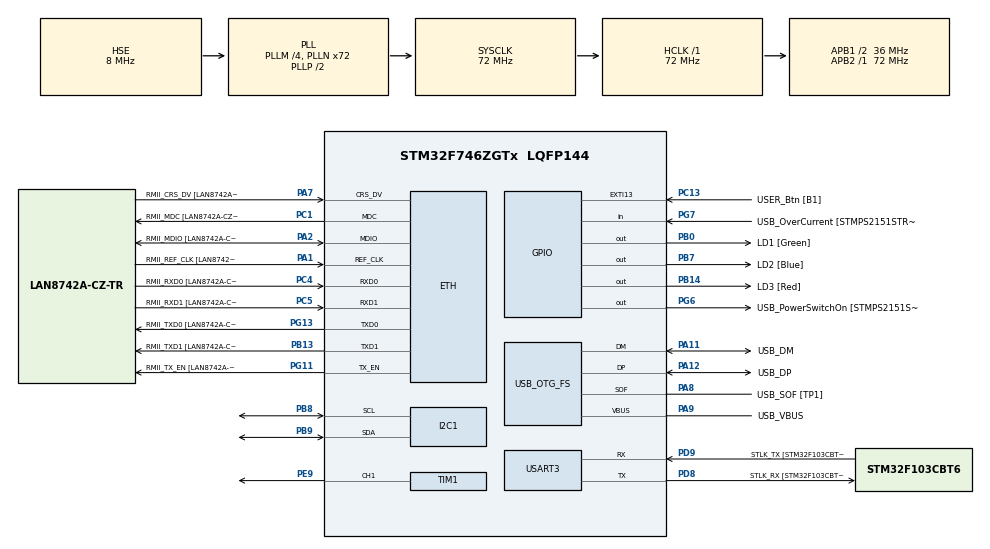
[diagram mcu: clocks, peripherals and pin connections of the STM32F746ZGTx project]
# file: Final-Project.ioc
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ETH.MediaInterface=HAL_ETH_RMII_MODE
ETH.PHY_Name=LAN8742A_PHY_ADDRESS
ETH.PHY_Value=0
ETH.PhyAddress=0
I2C1.Timing=0x00808CD2
Mcu.Family=STM32F7
Mcu.Name=STM32F746ZGTx
Mcu.Package=LQFP144
NVIC.PriorityGroup=NVIC_PRIORITYGROUP_4
PA1.GPIO_Label=RMII_REF_CLK [LAN8742A-CZ-TR_REFCLK0]
PA1.Mode=RMII
PA1.Signal=ETH_REF_CLK
PA10.GPIO_Label=USB_ID
PA10.Signal=USB_OTG_FS_ID
PA11.GPIO_Label=USB_DM
PA11.Mode=Device_Only
PA11.Signal=USB_OTG_FS_DM
PA12.GPIO_Label=USB_DP
PA12.Mode=Device_Only
PA12.Signal=USB_OTG_FS_DP
PA13.GPIO_Label=TMS
PA13.Mode=Serial_Wire
PA13.Signal=SYS_JTMS-SWDIO
PA14.GPIO_Label=TCK
PA14.Mode=Serial_Wire
PA14.Signal=SYS_JTCK-SWCLK
PA2.GPIO_Label=RMII_MDIO [LAN8742A-CZ-TR_MDIO]
PA2.Mode=RMII
PA2.Signal=ETH_MDIO
PA7.GPIO_Label=RMII_CRS_DV [LAN8742A-CZ-TR_CRS_DV]
PA7.Mode=RMII
PA7.Signal=ETH_CRS_DV
PA8.GPIO_Label=USB_SOF [TP1]
PA8.Mode=Activate_SOF_FS
PA8.Signal=USB_OTG_FS_SOF
PA9.GPIO_Label=USB_VBUS
PA9.Mode=Activate_VBUS
PA9.Signal=USB_OTG_FS_VBUS
PB0.GPIO_Label=LD1 [Green]
PB0.Signal=GPIO_Output
PB13.GPIO_Label=RMII_TXD1 [LAN8742A-CZ-TR_TXD1]
PB13.Mode=RMII
PB13.Signal=ETH_TXD1
PB14.GPIO_Label=LD3 [Red]
PB14.Signal=GPIO_Output
PB3.GPIO_Label=SW0
PB3.Signal=SYS_JTDO-SWO
PB7.GPIO_Label=LD2 [Blue]
PB7.Signal=GPIO_Output
PB8.Mode=I2C
PB8.Signal=I2C1_SCL
PB9.Mode=I2C
PB9.Signal=I2C1_SDA
PC1.GPIO_Label=RMII_MDC [LAN8742A-CZ-TR_MDC]
PC1.Mode=RMII
PC1.Signal=ETH_MDC
PC13.GPIO_Label=USER_Btn [B1]
PC13.Signal=GPXTI13
PC14/OSC32_IN.Mode=LSE-External-Oscillator
PC14/OSC32_IN.Signal=RCC_OSC32_IN
PC15/OSC32_OUT.Mode=LSE-External-Oscillator
PC15/OSC32_OUT.Signal=RCC_OSC32_OUT
PC4.GPIO_Label=RMII_RXD0 [LAN8742A-CZ-TR_RXD0]
PC4.Mode=RMII
PC4.Signal=ETH_RXD0
PC5.GPIO_Label=RMII_RXD1 [LAN8742A-CZ-TR_RXD1]
PC5.Mode=RMII
PC5.Signal=ETH_RXD1
PD8.GPIO_Label=STLK_RX [STM32F103CBT6_PA3]
PD8.GPIO_PuPd=GPIO_PULLUP
PD8.Mode=Asynchronous
PD8.Signal=USART3_TX
PD9.GPIO_Label=STLK_TX [STM32F103CBT6_PA2]
PD9.GPIO_PuPd=GPIO_PULLUP
PD9.Mode=Asynchronous
PD9.Signal=USART3_RX
PE9.Signal=S_TIM1_CH1
PG11.GPIO_Label=RMII_TX_EN [LAN8742A-CZ-TR_TXEN]
PG11.Mode=RMII
PG11.Signal=ETH_TX_EN
PG13.GPIO_Label=RMII_TXD0 [LAN8742A-CZ-TR_TXD0]
PG13.Mode=RMII
PG13.Signal=ETH_TXD0
PG6.GPIO_Label=USB_PowerSwitchOn [STMPS2151STR_EN]
PG6.Signal=GPIO_Output
PG7.GPIO_Label=USB_OverCurrent [STMPS2151STR_FAULT]
PG7.Signal=GPIO_Input
PH0/OSC_IN.GPIO_Label=MCO [STM32F103CBT6_PA8]
PH0/OSC_IN.Mode=HSE-External-Clock-Source
PH0/OSC_IN.Signal=RCC_OSC_IN
PH1/OSC_OUT.Mode=HSE-External-Clock-Source
PH1/OSC_OUT.Signal=RCC_OSC_OUT
ProjectManager.HeapSize=0x200
ProjectManager.StackSize=0x400
ProjectManager.TargetToolchain=STM32CubeIDE
RCC.48MHZClocksFreq_Value=24000000
RCC.AHBFreq_Value=72000000
RCC.APB1CLKDivider=RCC_HCLK_DIV2
RCC.APB1Freq_Value=36000000
RCC.APB1TimFreq_Value=72000000
RCC.APB2Freq_Value=72000000
RCC.APB2TimFreq_Value=72000000
RCC.CortexFreq_Value=72000000
RCC.HCLKFreq_Value=72000000
RCC.HSE_VALUE=8000000
RCC.HSI_VALUE=16000000
RCC.PLLM=4
RCC.PLLMUL=RCC_PLL_MUL9
RCC.PLLN=72
RCC.PLLQ=3
RCC.PRESCALERUSB=RCC_USBCLKSOURCE_PLL_DIV1_5
RCC.SYSCLKFreq_VALUE=72000000
RCC.SYSCLKSource=RCC_SYSCLKSOURCE_PLLCLK
RCC.SYSCLKSourceVirtual=RCC_SYSCLKSOURCE_PLLCLK
RCC.USBFreq_Value=48000000
RCC.VCOOutputFreq_Value=144000000
SH.S_TIM1_CH1.0=TIM1_CH1,PWM Generation1 CH1
TIM1.Channel-PWM\ Generation1\ CH1=TIM_CHANNEL_1
USART3.VirtualMode-Asynchronous=VM_ASYNC
USB_OTG_FS.VirtualMode=Device_Only
VP_TIM1_VS_ClockSourceINT.Mode=Internal
board=NUCLEO-F746ZG

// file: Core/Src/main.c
/* USER CODE BEGIN Header */
/**
  ******************************************************************************
  * @file           : main.c
  * @brief          : Main program body
  ******************************************************************************
  */
/* USER CODE END Header */

#include "main.h"
#include <string.h>
#include <stdio.h>

#include "pi_controller.h"
#include "bh1750.h"
#include "pwm_led.h"

/* USER CODE BEGIN PD */

/* ===== Project settings ===== */
#define TS_MS               200U
#define TS_SEC              0.2f

#define CONTROL_RANGE_LUX   500.0f
#define ERR_5_PERCENT_LUX   (0.05f * CONTROL_RANGE_LUX)   /* 25 lux if range 0..500 */

#define STEP_DURATION_MS    15000U   /* log 15s then stop */
#define STEP_FROM_LUX       200.0f
#define STEP_TO_LUX         300.0f

/* USER CODE END PD */

#if defined ( __ICCARM__ )
#pragma location=0x2004c000
ETH_DMADescTypeDef  DMARxDscrTab[ETH_RX_DESC_CNT];
#pragma location=0x2004c0a0
ETH_DMADescTypeDef  DMATxDscrTab[ETH_TX_DESC_CNT];

#elif defined ( __CC_ARM )
__attribute__((at(0x2004c000))) ETH_DMADescTypeDef  DMARxDscrTab[ETH_RX_DESC_CNT];
__attribute__((at(0x2004c0a0))) ETH_DMADescTypeDef  DMATxDscrTab[ETH_TX_DESC_CNT];

#elif defined ( __GNUC__ )
ETH_DMADescTypeDef DMARxDscrTab[ETH_RX_DESC_CNT] __attribute__((section(".RxDecripSection")));
ETH_DMADescTypeDef DMATxDscrTab[ETH_TX_DESC_CNT] __attribute__((section(".TxDecripSection")));
#endif

ETH_TxPacketConfig TxConfig;

ETH_HandleTypeDef heth;
I2C_HandleTypeDef hi2c1;
TIM_HandleTypeDef htim1;
UART_HandleTypeDef huart3;
PCD_HandleTypeDef hpcd_USB_OTG_FS;

/* USER CODE BEGIN PV */
PI_t pi;

float target_lux = 200.0f;
float lux        = 0.0f;

float u_last     = 0.30f;   /* start at 30% */
uint32_t last_ms = 0;

char uart_buf[160];
uint8_t rx_char = 0;

uint8_t do_log = 0;         /* 0=status lines, 1=CSV */
uint8_t step_active = 0;
uint32_t t0_ms = 0;
/* USER CODE END PV */

void SystemClock_Config(void);
static void MX_GPIO_Init(void);
static void MX_ETH_Init(void);
static void MX_I2C1_Init(void);
static void MX_USART3_UART_Init(void);
static void MX_USB_OTG_FS_PCD_Init(void);
static void MX_TIM1_Init(void);

/* USER CODE BEGIN PFP */
static void UART_PrintHelp(void);
static void UART_PrintCSVHeader(void);
static void ClampTarget(void);
/* USER CODE END PFP */

/* USER CODE BEGIN 0 */

static void UART_PrintHelp(void)
{
  int n = sprintf(uart_buf,
      "READY\r\n"
      "Commands:\r\n"
      "+ / - : target +/-10 lux\r\n"
      "l     : toggle CSV logging\r\n"
      "s     : step test (200->300) + CSV for 15s\r\n"
      "r     : reset PI integrator\r\n");
  HAL_UART_Transmit(&huart3, (uint8_t*)uart_buf, n, 50);
}

static void UART_PrintCSVHeader(void)
{
  int n = sprintf(uart_buf, "t_ms,lux,target,duty\r\n");
  HAL_UART_Transmit(&huart3, (uint8_t*)uart_buf, n, 50);
}

static void ClampTarget(void)
{
  if (target_lux < 0.0f)    target_lux = 0.0f;
  if (target_lux > 1000.0f) target_lux = 1000.0f;
}

/* USER CODE END 0 */

int main(void)
{
  /* MCU Configuration--------------------------------------------------------*/
  HAL_Init();
  SystemClock_Config();

  /* Initialize all configured peripherals */
  MX_GPIO_Init();
  MX_ETH_Init();
  MX_I2C1_Init();
  MX_USART3_UART_Init();
  MX_USB_OTG_FS_PCD_Init();
  MX_TIM1_Init();

  /* USER CODE BEGIN 2 */
  PWM_LED_Start(&htim1, TIM_CHANNEL_1);
  PWM_LED_SetDuty(&htim1, TIM_CHANNEL_1, u_last);

  BH1750_Init(&hi2c1);

  /* Safe initial PI values (tune later) */
  PI_Init(&pi,
          0.30f,    /* Kp */
          0.05f,    /* Ki */
          TS_SEC,   /* Ts */
          0.0f,     /* out_min */
          1.0f);    /* out_max */

  last_ms = HAL_GetTick();

  UART_PrintHelp();
  /* USER CODE END 2 */

  /* Infinite loop */
  /* USER CODE BEGIN WHILE */
  while (1)
  {
    /* ===== UART non-blocking receive (timeout 0) ===== */
    if (HAL_UART_Receive(&huart3, &rx_char, 1, 0) == HAL_OK)
    {
      if (rx_char == '+') target_lux += 10.0f;
      if (rx_char == '-') target_lux -= 10.0f;

      if (rx_char == 'l')
      {
        do_log ^= 1;
        if (do_log)
        {
          t0_ms = HAL_GetTick();
          UART_PrintCSVHeader();
        }
        else
        {
          int n = sprintf(uart_buf, "LOG OFF\r\n");
          HAL_UART_Transmit(&huart3, (uint8_t*)uart_buf, n, 50);
        }
      }

      if (rx_char == 'r')
      {
        /* requires PI_Reset() to exist */
        PI_Reset(&pi, 0.0f);
        int n = sprintf(uart_buf, "PI RESET\r\n");
        HAL_UART_Transmit(&huart3, (uint8_t*)uart_buf, n, 50);
      }

      if (rx_char == 's')
      {
        /* Step test: 200 -> 300, CSV for 15s */
        target_lux = STEP_FROM_LUX;
        HAL_Delay(800);

        /* keep output continuity */
        PI_Reset(&pi, u_last);

        do_log = 1;
        step_active = 1;
        t0_ms = HAL_GetTick();

        int n = sprintf(uart_buf, "STEP START\r\n");
        HAL_UART_Transmit(&huart3, (uint8_t*)uart_buf, n, 50);
        UART_PrintCSVHeader();

        target_lux = STEP_TO_LUX;
      }

      ClampTarget();
    }

    /* ===== Control loop @ 200 ms (constant Ts) ===== */
    if ((HAL_GetTick() - last_ms) >= TS_MS)
    {
      last_ms += TS_MS;

      HAL_StatusTypeDef ok = BH1750_ReadLux(&hi2c1, &lux);

      if (ok == HAL_OK)
      {
        if (lux < 0.0f)      lux = 0.0f;
        if (lux > 100000.0f) lux = 100000.0f;

        float u = PI_Update(&pi, target_lux, lux);

        /* extra safety clamp */
        if (u > 1.0f) u = 1.0f;
        if (u < 0.0f) u = 0.0f;

        u_last = u;
        PWM_LED_SetDuty(&htim1, TIM_CHANNEL_1, u_last);
      }
      else
      {
        /* keep last output (avoid flicker on I2C glitches) */
        PWM_LED_SetDuty(&htim1, TIM_CHANNEL_1, u_last);
      }

      /* ===== Req3 monitor (steady-state error within 5% of range) ===== */
      float err = target_lux - lux;
      if (err < 0.0f) err = -err;
      int pass = (err <= ERR_5_PERCENT_LUX);

      /* ===== Print status / CSV (integers only) ===== */
      int t_ms   = (int)(HAL_GetTick() - t0_ms);
      int lux_i  = (int)(lux);
      int trg_i  = (int)(target_lux);
      int duty_i = (int)(u_last * 100.0f);

      if (do_log)
      {
        int n = sprintf(uart_buf, "%d,%d,%d,%d\r\n", t_ms, lux_i, trg_i, duty_i);
        HAL_UART_Transmit(&huart3, (uint8_t*)uart_buf, n, 50);

        if (step_active && ((HAL_GetTick() - t0_ms) > STEP_DURATION_MS))
        {
          step_active = 0;
          do_log = 0;
          int n2 = sprintf(uart_buf, "STEP DONE\r\n");
          HAL_UART_Transmit(&huart3, (uint8_t*)uart_buf, n2, 50);
        }
      }
      else
      {
        int n = sprintf(uart_buf,
                        "lux=%d target=%d duty=%d%% err=%d pass=%d\r\n",
                        lux_i, trg_i, duty_i, (int)err, pass);
        HAL_UART_Transmit(&huart3, (uint8_t*)uart_buf, n, 50);
      }
    }
  }
  /* USER CODE END WHILE */
}

/* =================== CubeMX generated functions (keep as is) =================== */

void SystemClock_Config(void)
{
  RCC_OscInitTypeDef RCC_OscInitStruct = {0};
  RCC_ClkInitTypeDef RCC_ClkInitStruct = {0};

  HAL_PWR_EnableBkUpAccess();
  __HAL_RCC_PWR_CLK_ENABLE();
  __HAL_PWR_VOLTAGESCALING_CONFIG(PWR_REGULATOR_VOLTAGE_SCALE3);

  RCC_OscInitStruct.OscillatorType = RCC_OSCILLATORTYPE_HSE;
  RCC_OscInitStruct.HSEState = RCC_HSE_BYPASS;
  RCC_OscInitStruct.PLL.PLLState = RCC_PLL_ON;
  RCC_OscInitStruct.PLL.PLLSource = RCC_PLLSOURCE_HSE;
  RCC_OscInitStruct.PLL.PLLM = 4;
  RCC_OscInitStruct.PLL.PLLN = 72;
  RCC_OscInitStruct.PLL.PLLP = RCC_PLLP_DIV2;
  RCC_OscInitStruct.PLL.PLLQ = 3;
  if (HAL_RCC_OscConfig(&RCC_OscInitStruct) != HAL_OK)
  {
    Error_Handler();
  }

  RCC_ClkInitStruct.ClockType = RCC_CLOCKTYPE_HCLK|RCC_CLOCKTYPE_SYSCLK
                              |RCC_CLOCKTYPE_PCLK1|RCC_CLOCKTYPE_PCLK2;
  RCC_ClkInitStruct.SYSCLKSource = RCC_SYSCLKSOURCE_PLLCLK;
  RCC_ClkInitStruct.AHBCLKDivider = RCC_SYSCLK_DIV1;
  RCC_ClkInitStruct.APB1CLKDivider = RCC_HCLK_DIV2;
  RCC_ClkInitStruct.APB2CLKDivider = RCC_HCLK_DIV1;

  if (HAL_RCC_ClockConfig(&RCC_ClkInitStruct, FLASH_LATENCY_2) != HAL_OK)
  {
    Error_Handler();
  }
}

static void MX_ETH_Init(void)
{
  static uint8_t MACAddr[6];

  heth.Instance = ETH;
  MACAddr[0] = 0x00;
  MACAddr[1] = 0x80;
  MACAddr[2] = 0xE1;
  MACAddr[3] = 0x00;
  MACAddr[4] = 0x00;
  MACAddr[5] = 0x00;
  heth.Init.MACAddr = &MACAddr[0];
  heth.Init.MediaInterface = HAL_ETH_RMII_MODE;
  heth.Init.TxDesc = DMATxDscrTab;
  heth.Init.RxDesc = DMARxDscrTab;
  heth.Init.RxBuffLen = 1524;

  if (HAL_ETH_Init(&heth) != HAL_OK)
  {
    Error_Handler();
  }

  memset(&TxConfig, 0 , sizeof(ETH_TxPacketConfig));
  TxConfig.Attributes = ETH_TX_PACKETS_FEATURES_CSUM | ETH_TX_PACKETS_FEATURES_CRCPAD;
  TxConfig.ChecksumCtrl = ETH_CHECKSUM_IPHDR_PAYLOAD_INSERT_PHDR_CALC;
  TxConfig.CRCPadCtrl = ETH_CRC_PAD_INSERT;
}

static void MX_I2C1_Init(void)
{
  hi2c1.Instance = I2C1;
  hi2c1.Init.Timing = 0x00808CD2;
  hi2c1.Init.OwnAddress1 = 0;
  hi2c1.Init.AddressingMode = I2C_ADDRESSINGMODE_7BIT;
  hi2c1.Init.DualAddressMode = I2C_DUALADDRESS_DISABLE;
  hi2c1.Init.OwnAddress2 = 0;
  hi2c1.Init.OwnAddress2Masks = I2C_OA2_NOMASK;
  hi2c1.Init.GeneralCallMode = I2C_GENERALCALL_DISABLE;
  hi2c1.Init.NoStretchMode = I2C_NOSTRETCH_DISABLE;
  if (HAL_I2C_Init(&hi2c1) != HAL_OK)
  {
    Error_Handler();
  }

  if (HAL_I2CEx_ConfigAnalogFilter(&hi2c1, I2C_ANALOGFILTER_ENABLE) != HAL_OK)
  {
    Error_Handler();
  }

  if (HAL_I2CEx_ConfigDigitalFilter(&hi2c1, 0) != HAL_OK)
  {
    Error_Handler();
  }
}

static void MX_TIM1_Init(void)
{
  TIM_ClockConfigTypeDef sClockSourceConfig = {0};
  TIM_MasterConfigTypeDef sMasterConfig = {0};
  TIM_OC_InitTypeDef sConfigOC = {0};
  TIM_BreakDeadTimeConfigTypeDef sBreakDeadTimeConfig = {0};

  htim1.Instance = TIM1;
  htim1.Init.Prescaler = 0;
  htim1.Init.CounterMode = TIM_COUNTERMODE_UP;
  htim1.Init.Period = 65535;
  htim1.Init.ClockDivision = TIM_CLOCKDIVISION_DIV1;
  htim1.Init.RepetitionCounter = 0;
  htim1.Init.AutoReloadPreload = TIM_AUTORELOAD_PRELOAD_DISABLE;
  if (HAL_TIM_Base_Init(&htim1) != HAL_OK)
  {
    Error_Handler();
  }

  sClockSourceConfig.ClockSource = TIM_CLOCKSOURCE_INTERNAL;
  if (HAL_TIM_ConfigClockSource(&htim1, &sClockSourceConfig) != HAL_OK)
  {
    Error_Handler();
  }

  if (HAL_TIM_PWM_Init(&htim1) != HAL_OK)
  {
    Error_Handler();
  }

  sMasterConfig.MasterOutputTrigger = TIM_TRGO_RESET;
  sMasterConfig.MasterOutputTrigger2 = TIM_TRGO2_RESET;
  sMasterConfig.MasterSlaveMode = TIM_MASTERSLAVEMODE_DISABLE;
  if (HAL_TIMEx_MasterConfigSynchronization(&htim1, &sMasterConfig) != HAL_OK)
  {
    Error_Handler();
  }

  sConfigOC.OCMode = TIM_OCMODE_PWM1;
  sConfigOC.Pulse = 0;
  sConfigOC.OCPolarity = TIM_OCPOLARITY_HIGH;
  sConfigOC.OCNPolarity = TIM_OCNPOLARITY_HIGH;
  sConfigOC.OCFastMode = TIM_OCFAST_DISABLE;
  sConfigOC.OCIdleState = TIM_OCIDLESTATE_RESET;
  sConfigOC.OCNIdleState = TIM_OCNIDLESTATE_RESET;
  if (HAL_TIM_PWM_ConfigChannel(&htim1, &sConfigOC, TIM_CHANNEL_1) != HAL_OK)
  {
    Error_Handler();
  }

  sBreakDeadTimeConfig.OffStateRunMode = TIM_OSSR_DISABLE;
  sBreakDeadTimeConfig.OffStateIDLEMode = TIM_OSSI_DISABLE;
  sBreakDeadTimeConfig.LockLevel = TIM_LOCKLEVEL_OFF;
  sBreakDeadTimeConfig.DeadTime = 0;
  sBreakDeadTimeConfig.BreakState = TIM_BREAK_DISABLE;
  sBreakDeadTimeConfig.BreakPolarity = TIM_BREAKPOLARITY_HIGH;
  sBreakDeadTimeConfig.BreakFilter = 0;
  sBreakDeadTimeConfig.Break2State = TIM_BREAK2_DISABLE;
  sBreakDeadTimeConfig.Break2Polarity = TIM_BREAK2POLARITY_HIGH;
  sBreakDeadTimeConfig.Break2Filter = 0;
  sBreakDeadTimeConfig.AutomaticOutput = TIM_AUTOMATICOUTPUT_DISABLE;
  if (HAL_TIMEx_ConfigBreakDeadTime(&htim1, &sBreakDeadTimeConfig) != HAL_OK)
  {
    Error_Handler();
  }

  HAL_TIM_MspPostInit(&htim1);
}

static void MX_USART3_UART_Init(void)
{
  huart3.Instance = USART3;
  huart3.Init.BaudRate = 115200;
  huart3.Init.WordLength = UART_WORDLENGTH_8B;
  huart3.Init.StopBits = UART_STOPBITS_1;
  huart3.Init.Parity = UART_PARITY_NONE;
  huart3.Init.Mode = UART_MODE_TX_RX;
  huart3.Init.HwFlowCtl = UART_HWCONTROL_NONE;
  huart3.Init.OverSampling = UART_OVERSAMPLING_16;
  huart3.Init.OneBitSampling = UART_ONE_BIT_SAMPLE_DISABLE;
  huart3.AdvancedInit.AdvFeatureInit = UART_ADVFEATURE_NO_INIT;
  if (HAL_UART_Init(&huart3) != HAL_OK)
  {
    Error_Handler();
  }
}

static void MX_USB_OTG_FS_PCD_Init(void)
{
  hpcd_USB_OTG_FS.Instance = USB_OTG_FS;
  hpcd_USB_OTG_FS.Init.dev_endpoints = 6;
  hpcd_USB_OTG_FS.Init.speed = PCD_SPEED_FULL;
  hpcd_USB_OTG_FS.Init.dma_enable = DISABLE;
  hpcd_USB_OTG_FS.Init.phy_itface = PCD_PHY_EMBEDDED;
  hpcd_USB_OTG_FS.Init.Sof_enable = ENABLE;
  hpcd_USB_OTG_FS.Init.low_power_enable = DISABLE;
  hpcd_USB_OTG_FS.Init.lpm_enable = DISABLE;
  hpcd_USB_OTG_FS.Init.vbus_sensing_enable = ENABLE;
  hpcd_USB_OTG_FS.Init.use_dedicated_ep1 = DISABLE;
  if (HAL_PCD_Init(&hpcd_USB_OTG_FS) != HAL_OK)
  {
    Error_Handler();
  }
}

static void MX_GPIO_Init(void)
{
  GPIO_InitTypeDef GPIO_InitStruct = {0};

  __HAL_RCC_GPIOC_CLK_ENABLE();
  __HAL_RCC_GPIOH_CLK_ENABLE();
  __HAL_RCC_GPIOA_CLK_ENABLE();
  __HAL_RCC_GPIOB_CLK_ENABLE();
  __HAL_RCC_GPIOE_CLK_ENABLE();
  __HAL_RCC_GPIOD_CLK_ENABLE();
  __HAL_RCC_GPIOG_CLK_ENABLE();

  HAL_GPIO_WritePin(GPIOB, LD1_Pin|LD3_Pin|LD2_Pin, GPIO_PIN_RESET);
  HAL_GPIO_WritePin(USB_PowerSwitchOn_GPIO_Port, USB_PowerSwitchOn_Pin, GPIO_PIN_RESET);

  GPIO_InitStruct.Pin = USER_Btn_Pin;
  GPIO_InitStruct.Mode = GPIO_MODE_IT_RISING;
  GPIO_InitStruct.Pull = GPIO_NOPULL;
  HAL_GPIO_Init(USER_Btn_GPIO_Port, &GPIO_InitStruct);

  GPIO_InitStruct.Pin = LD1_Pin|LD3_Pin|LD2_Pin;
  GPIO_InitStruct.Mode = GPIO_MODE_OUTPUT_PP;
  GPIO_InitStruct.Pull = GPIO_NOPULL;
  GPIO_InitStruct.Speed = GPIO_SPEED_FREQ_LOW;
  HAL_GPIO_Init(GPIOB, &GPIO_InitStruct);

  GPIO_InitStruct.Pin = USB_PowerSwitchOn_Pin;
  GPIO_InitStruct.Mode = GPIO_MODE_OUTPUT_PP;
  GPIO_InitStruct.Pull = GPIO_NOPULL;
  GPIO_InitStruct.Speed = GPIO_SPEED_FREQ_LOW;
  HAL_GPIO_Init(USB_PowerSwitchOn_GPIO_Port, &GPIO_InitStruct);

  GPIO_InitStruct.Pin = USB_OverCurrent_Pin;
  GPIO_InitStruct.Mode = GPIO_MODE_INPUT;
  GPIO_InitStruct.Pull = GPIO_NOPULL;
  HAL_GPIO_Init(USB_OverCurrent_GPIO_Port, &GPIO_InitStruct);
}

void Error_Handler(void)
{
  __disable_irq();
  while (1) { }
}
